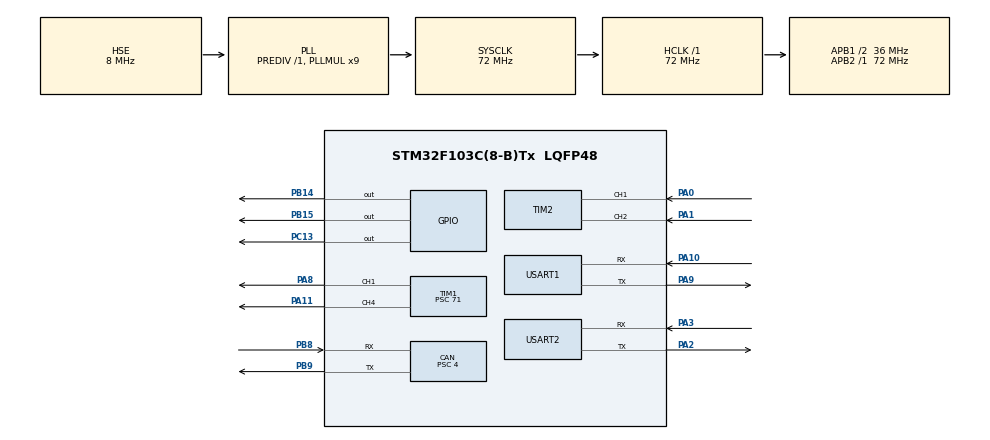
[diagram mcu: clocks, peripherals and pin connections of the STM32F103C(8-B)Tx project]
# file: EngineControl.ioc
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CAN.BS1=CAN_BS1_15TQ
CAN.BS2=CAN_BS2_2TQ
CAN.CalculateBaudRate=500000
CAN.CalculateTimeBit=2000
CAN.CalculateTimeQuantum=111.11111111111111
CAN.Mode=CAN_MODE_NORMAL
CAN.Prescaler=4
FREERTOS.Tasks01=mControl_PIDTas,40,128,Control_PIDTask,Default,NULL,Dynamic,NULL,NULL;mCAN_RecTask,8,128,CAN_RecTask,Default,NULL,Dynamic,NULL,NULL
Mcu.Family=STM32F1
Mcu.Name=STM32F103C(8-B)Tx
Mcu.Package=LQFP48
Mcu.UserConstants=Servo_PWM,500
NVIC.PriorityGroup=NVIC_PRIORITYGROUP_4
NVIC.TIM2_IRQn=true\:5\:0\:false\:false\:true\:true\:true\:true\:true
NVIC.TIM3_IRQn=true\:15\:0\:false\:false\:true\:false\:false\:true\:true
NVIC.TimeBase=TIM3_IRQn
NVIC.TimeBaseIP=TIM3
NVIC.USB_HP_CAN1_TX_IRQn=true\:5\:0\:false\:false\:true\:true\:true\:true\:true
NVIC.USB_LP_CAN1_RX0_IRQn=true\:5\:0\:false\:false\:true\:true\:true\:true\:true
PA0-WKUP.Signal=S_TIM2_CH1_ETR
PA1.Signal=S_TIM2_CH2
PA10.Mode=Asynchronous
PA10.Signal=USART1_RX
PA11.Signal=S_TIM1_CH4
PA13.Mode=Serial_Wire
PA13.Signal=SYS_JTMS-SWDIO
PA14.Mode=Serial_Wire
PA14.Signal=SYS_JTCK-SWCLK
PA2.Mode=Asynchronous
PA2.Signal=USART2_TX
PA3.Mode=Asynchronous
PA3.Signal=USART2_RX
PA8.Signal=S_TIM1_CH1
PA9.Mode=Asynchronous
PA9.Signal=USART1_TX
PB14.Signal=GPIO_Output
PB15.Signal=GPIO_Output
PB8.Mode=CAN_Activate
PB8.Signal=CAN_RX
PB9.Mode=CAN_Activate
PB9.Signal=CAN_TX
PC13-TAMPER-RTC.Signal=GPIO_Output
PD0-OSC_IN.Mode=HSE-External-Oscillator
PD0-OSC_IN.Signal=RCC_OSC_IN
PD1-OSC_OUT.Mode=HSE-External-Oscillator
PD1-OSC_OUT.Signal=RCC_OSC_OUT
ProjectManager.HeapSize=0x200
ProjectManager.StackSize=0x400
ProjectManager.TargetToolchain=STM32CubeIDE
RCC.AHBFreq_Value=72000000
RCC.APB1CLKDivider=RCC_HCLK_DIV2
RCC.APB1Freq_Value=36000000
RCC.APB1TimFreq_Value=72000000
RCC.APB2Freq_Value=72000000
RCC.APB2TimFreq_Value=72000000
RCC.HCLKFreq_Value=72000000
RCC.PLLMUL=RCC_PLL_MUL9
RCC.PLLSourceVirtual=RCC_PLLSOURCE_HSE
RCC.SYSCLKFreq_VALUE=72000000
RCC.SYSCLKSource=RCC_SYSCLKSOURCE_PLLCLK
RCC.USBFreq_Value=72000000
SH.S_TIM1_CH1.0=TIM1_CH1,PWM Generation1 CH1
SH.S_TIM1_CH4.0=TIM1_CH4,PWM Generation4 CH4
SH.S_TIM2_CH1_ETR.0=TIM2_CH1,Encoder_Interface
SH.S_TIM2_CH2.0=TIM2_CH2,Encoder_Interface
TIM1.Channel-PWM\ Generation1\ CH1=TIM_CHANNEL_1
TIM1.Channel-PWM\ Generation4\ CH4=TIM_CHANNEL_4
TIM1.Period=99
TIM1.Prescaler=71
TIM2.EncoderMode=TIM_ENCODERMODE_TI12
USART1.VirtualMode=VM_ASYNC
USART2.VirtualMode=VM_ASYNC
VP_FREERTOS_VS_CMSIS_V2.Mode=CMSIS_V2
VP_SYS_VS_tim3.Mode=TIM3
VP_TIM1_VS_ClockSourceINT.Mode=Internal
board=custom

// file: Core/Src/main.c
/* USER CODE BEGIN Header */
/**
  ******************************************************************************
  * @file           : main.c
  * @brief          : Main program body
  ******************************************************************************
  * @attention
  *
  * Copyright (c) 2023 STMicroelectronics.
  * All rights reserved.
  *
  * This software is licensed under terms that can be found in the LICENSE file
  * in the root directory of this software component.
  * If no LICENSE file comes wi th this software, it is provided AS-IS.
  *
  ******************************************************************************
  */
/* USER CODE END Header */
#include "main.h"
#include "cmsis_os.h"
#include "can.h"
#include "tim.h"
#include "usart.h"
#include "gpio.h"

/* USER CODE BEGIN Includes */
#include <stdio.h>
/* USER CODE END Includes */

void SystemClock_Config(void);
void MX_FREERTOS_Init(void);

int main(void)
{

  /* MCU Configuration--------------------------------------------------------*/

  /* Reset of all peripherals, Initializes the Flash interface and the Systick. */
  HAL_Init();

  /* Configure the system clock */
  SystemClock_Config();

  /* Initialize all configured peripherals */
  MX_GPIO_Init();
  MX_TIM2_Init();
  MX_TIM1_Init();
  MX_CAN_Init();
  MX_USART1_UART_Init();
  MX_USART2_UART_Init();
  /* USER CODE BEGIN 2 */
  HAL_TIM_PWM_Start(&htim1, TIM_CHANNEL_1);
  HAL_TIM_PWM_Start(&htim1, TIM_CHANNEL_4);
  HAL_TIM_Encoder_Start_IT(&htim2, TIM_CHANNEL_ALL);
  CAN_Config_filtering(0,0x302);
 if(HAL_CAN_ActivateNotification(&hcan, CAN_IT_TX_MAILBOX_EMPTY|CAN_IT_RX_FIFO0_MSG_PENDING)!=HAL_OK){
	 printf("Start CAN IT Error");
 }
  if(HAL_CAN_Start(&hcan)!=HAL_OK){
	 printf("Start CAN Error");
 }
  /* USER CODE END 2 */

  /* Init scheduler */
  osKernelInitialize();

  /* Call init function for freertos objects (in freertos.c) */
  MX_FREERTOS_Init();

  /* Start scheduler */
  osKernelStart();

  /* We should never get here as control is now taken by the scheduler */
  /* Infinite loop */
  while (1)
   {

   }
}

void SystemClock_Config(void)
{
  RCC_OscInitTypeDef RCC_OscInitStruct = {0};
  RCC_ClkInitTypeDef RCC_ClkInitStruct = {0};

  /** Initializes the RCC Oscillators according to the specified parameters
  * in the RCC_OscInitTypeDef structure.
  */
  RCC_OscInitStruct.OscillatorType = RCC_OSCILLATORTYPE_HSE;
  RCC_OscInitStruct.HSEState = RCC_HSE_ON;
  RCC_OscInitStruct.HSEPredivValue = RCC_HSE_PREDIV_DIV1;
  RCC_OscInitStruct.HSIState = RCC_HSI_ON;
  RCC_OscInitStruct.PLL.PLLState = RCC_PLL_ON;
  RCC_OscInitStruct.PLL.PLLSource = RCC_PLLSOURCE_HSE;
  RCC_OscInitStruct.PLL.PLLMUL = RCC_PLL_MUL9;
  if (HAL_RCC_OscConfig(&RCC_OscInitStruct) != HAL_OK)
  {
    Error_Handler();
  }

  /** Initializes the CPU, AHB and APB buses clocks
  */
  RCC_ClkInitStruct.ClockType = RCC_CLOCKTYPE_HCLK|RCC_CLOCKTYPE_SYSCLK
                              |RCC_CLOCKTYPE_PCLK1|RCC_CLOCKTYPE_PCLK2;
  RCC_ClkInitStruct.SYSCLKSource = RCC_SYSCLKSOURCE_PLLCLK;
  RCC_ClkInitStruct.AHBCLKDivider = RCC_SYSCLK_DIV1;
  RCC_ClkInitStruct.APB1CLKDivider = RCC_HCLK_DIV2;
  RCC_ClkInitStruct.APB2CLKDivider = RCC_HCLK_DIV1;

  if (HAL_RCC_ClockConfig(&RCC_ClkInitStruct, FLASH_LATENCY_2) != HAL_OK)
  {
    Error_Handler();
  }
}

void HAL_TIM_PeriodElapsedCallback(TIM_HandleTypeDef *htim)
{
  if (htim->Instance == TIM3) {
    HAL_IncTick();
  }
}

void Error_Handler(void)
{
  __disable_irq();
  while (1)
  {
  }
}

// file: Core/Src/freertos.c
/* USER CODE BEGIN Header */
/**
  ******************************************************************************
  * File Name          : freertos.c
  * Description        : Code for freertos applications
  ******************************************************************************
  * @attention
  *
  * Copyright (c) 2023 STMicroelectronics.
  * All rights reserved.
  *
  * This software is licensed under terms that can be found in the LICENSE file
  * in the root directory of this software component.
  * If no LICENSE file comes with this software, it is provided AS-IS.
  *
  ******************************************************************************
  */
/* USER CODE END Header */

#include "FreeRTOS.h"
#include "task.h"
#include "main.h"
#include "cmsis_os.h"

/* USER CODE BEGIN Includes */
#include <stdio.h>
#include "Motor_Driver.h"
#include <string.h>
#include "EncoderVelocity.h"
#include "PID.h"
#include "CAN_Handle.h"
#include "tim.h"
#include "usart.h"
#include "EngineStateMachine.h"
/* USER CODE END Includes */

/* USER CODE BEGIN Variables */
extern uint8_t rcdata[8];
extern uint8_t Can_RecFlag;
//
  double VelSetpoint;
  Encoder Enco;
  double speed;
  double PIDOut,PWM;
  PID_TypeDef TPID;
  VNH3SP30_t driver;
//
  uint32_t Time;
  State currentState = ENGINE_CONTROL_TASK_INIT;
//  double SteeSetpoint,SteeOut,SPWM,Steering;
//  PID_TypeDef SPID;
//  double Steering;
//  	double SteeringAngle;
//  	double SteeringControl;
//
//volatile uint8_t Servo=0;
/* USER CODE END Variables */
/* Definitions for mControl_PIDTas */
osThreadId_t mControl_PIDTasHandle;
const osThreadAttr_t mControl_PIDTas_attributes = {
  .name = "mControl_PIDTas",
  .stack_size = 128 * 4,
  .priority = (osPriority_t) osPriorityHigh,
};
/* Definitions for mCAN_RecTask */
osThreadId_t mCAN_RecTaskHandle;
const osThreadAttr_t mCAN_RecTask_attributes = {
  .name = "mCAN_RecTask",
  .stack_size = 128 * 4,
  .priority = (osPriority_t) osPriorityLow,
};

void Control_PIDTask(void *argument);
void CAN_RecTask(void *argument);

void MX_FREERTOS_Init(void); /* (MISRA C 2004 rule 8.1) */

void MX_FREERTOS_Init(void) {

  /* Create the thread(s) */
  /* creation of mControl_PIDTas */
  mControl_PIDTasHandle = osThreadNew(Control_PIDTask, NULL, &mControl_PIDTas_attributes);

  /* creation of mCAN_RecTask */
  mCAN_RecTaskHandle = osThreadNew(CAN_RecTask, NULL, &mCAN_RecTask_attributes);

}

void Control_PIDTask(void *argument)
{
  /* USER CODE BEGIN Control_PIDTask */
//	Time=10;
//			VelSetpoint = 5;
//			VNH3SP30_Init(&driver);
//			Encoder_Init(&Enco);
//			PID(&TPID, &speed, &PIDOut, &VelSetpoint, 4, 0, 3, _PID_P_ON_E, _PID_CD_DIRECT);
//			PID_SetMode(&TPID, _PID_MODE_AUTOMATIC);
//			PID_SetSampleTime(&TPID, Time);
//			PID_SetOutputLimits(&TPID, -1, 1);
//			currentState=RUNNING_STATE;
  /* Infinite loop */
  for(;;)
  {
//	  if(Can_RecFlag==1){
//	  PWM += PIDOut;
//	  Encoder_CaculateSpeed(&Enco,Time);
//	  VNH3SP30_SetSpeed(&driver,PWM);
//	  //Encoder_CaculateSpeed(&Enco,Time);
//	  speed=Get_Speed(&Enco);
//	  PID_Compute(&TPID);
//	  }
//	  osDelay(Time);
	  switch (currentState) {
	              case ENGINE_CONTROL_TASK_INIT:
	                  EngineControlTaskInit();
	                  break;
	              case RUNNING_STATE:
	                  RunningState();
	                  break;
	              case GET_DATA_STATE:
	                  GetDataState();
	                  break;
	              case CONTROL_SPEED_STATE:
	                  ControlSpeedState();
	                  break;
	              case RECOVERY_STATE:
	                  RecoveryState();
	                  break;
	          }
	  osDelay(Time);
  }
  /* USER CODE END Control_PIDTask */
}

void CAN_RecTask(void *argument)
{
  /* USER CODE BEGIN CAN_RecTask */
  /* Infinite loop */
  for(;;)
  {
//		uint32_t len =sprintf(msg,"Steecontrol: %d | SPWM: %d\r\n",(int16_t)SteeringControl,(int16_t)SPWM);
//		HAL_UART_Transmit(&huart2,(uint8_t*) msg, len, HAL_MAX_DELAY);
    osDelay(1);
  }
  /* USER CODE END CAN_RecTask */
}
